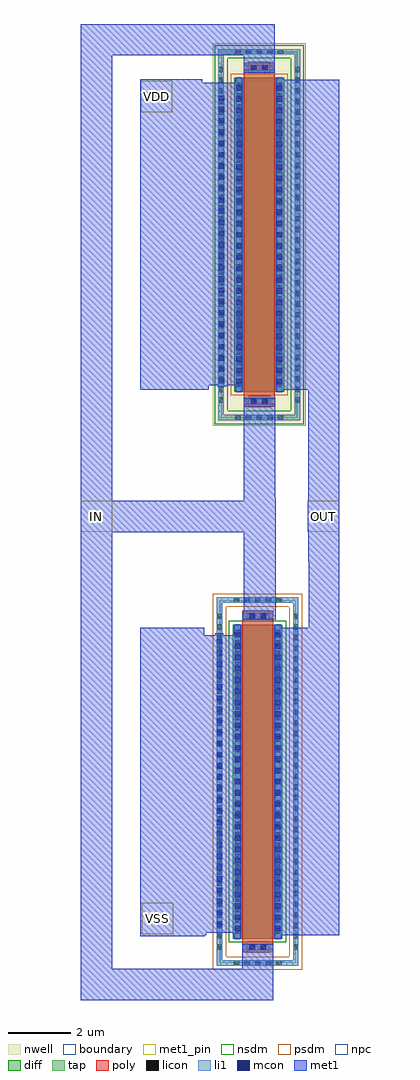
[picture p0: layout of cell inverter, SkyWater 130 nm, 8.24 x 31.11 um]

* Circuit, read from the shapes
.subckt inverter IN OUT VDD VSS
XM1 OUT IN VSS VSS sky130_fd_pr__nfet_01v8 w=10 l=1
XM2 OUT IN VDD VDD sky130_fd_pr__pfet_01v8 w=10 l=1
.ends

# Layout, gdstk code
from math import pi, radians
import gdstk
lib = gdstk.Library(unit=1e-6, precision=1e-09)
def R(c, l, rs):  # rectangles x0, y0, x1, y1
    for r in rs: c.add(gdstk.rectangle(r[:2], r[2:], *l))
def A(c, l, x, y, w, h, nx, ny, dx, dy):  # array of equal rectangles
    R(c, l, [(x+i*dx, y+j*dy, x+i*dx+w, y+j*dy+h) for i in range(nx) for j in range(ny)])
nwell = (64, 20)
diff = (65, 20)
tap = (65, 44)
poly = (66, 20)
licon = (66, 44)
li1 = (67, 20)
mcon = (67, 44)
met1_pin = (68, 16)
met1 = (68, 20)
nsdm = (93, 44)
psdm = (94, 20)
npc = (95, 20)
boundary = (235, 4)

sky130_fd_pr__nfet_01v8_ = lib.new_cell('sky130_fd_pr__nfet_01v8_6WXQK8')
R(sky130_fd_pr__nfet_01v8_, diff, [(-0.79,-5,0.79,5)])
R(sky130_fd_pr__nfet_01v8_, tap, [(-1.3,-5.87,1.3,-5.7), (-1.3,-5.7,-1.13,5.7), (1.13,-5.7,1.3,5.7), (-1.3,5.7,1.3,5.87)])
R(sky130_fd_pr__nfet_01v8_, poly, [(-0.5,-5.44,0.5,5.44)])
A(sky130_fd_pr__nfet_01v8_, licon, -0.765, -5.87, 0.17, 0.17, 5, 2, 0.34, 11.57)
A(sky130_fd_pr__nfet_01v8_, licon, -1.3, -5.355, 0.17, 0.17, 1, 32, 0, 0.34)
A(sky130_fd_pr__nfet_01v8_, licon, 1.13, -5.355, 0.17, 0.17, 1, 32, 0, 0.34)
A(sky130_fd_pr__nfet_01v8_, licon, -0.73, -4.845, 0.17, 0.17, 1, 29, 0, 0.34)
A(sky130_fd_pr__nfet_01v8_, licon, 0.56, -4.845, 0.17, 0.17, 1, 29, 0, 0.34)
R(sky130_fd_pr__nfet_01v8_, licon, [(-0.255,-5.36,-0.085,-5.19), (0.085,-5.36,0.255,-5.19), (-0.255,5.19,-0.085,5.36), (0.085,5.19,0.255,5.36)])
R(sky130_fd_pr__nfet_01v8_, li1, [(-1.3,-5.87,1.3,-5.7), (-1.3,-5.7,-1.13,5.7), (1.13,-5.7,1.3,5.7), (-0.5,-5.36,0.5,-5.19), (-0.73,-5.02,-0.56,5.02), (0.56,-5.02,0.73,5.02), (-0.5,5.19,0.5,5.36), (-1.3,5.7,1.3,5.87)])
A(sky130_fd_pr__nfet_01v8_, mcon, -0.73, -4.765, 0.17, 0.17, 1, 27, 0, 0.36)
A(sky130_fd_pr__nfet_01v8_, mcon, 0.56, -4.765, 0.17, 0.17, 1, 27, 0, 0.36)
R(sky130_fd_pr__nfet_01v8_, mcon, [(-0.265,-5.36,-0.095,-5.19), (0.095,-5.36,0.265,-5.19), (-0.265,5.19,-0.095,5.36), (0.095,5.19,0.265,5.36)])
R(sky130_fd_pr__nfet_01v8_, met1, [(-0.48,-5.39,0.48,-5.16), (-0.76,-5,-0.53,5), (0.53,-5,0.76,5), (-0.48,5.16,0.48,5.39)])
R(sky130_fd_pr__nfet_01v8_, nsdm, [(-0.915,-5.125,0.915,5.125)])
R(sky130_fd_pr__nfet_01v8_, psdm, [(-1.425,-5.995,1.425,-5.575), (-1.425,-5.575,-1.005,5.575), (1.005,-5.575,1.425,5.575), (-1.425,5.575,1.425,5.995)])
R(sky130_fd_pr__nfet_01v8_, npc, [(-0.355,-5.46,0.355,-5.09), (-0.355,5.09,0.355,5.46)])
R(sky130_fd_pr__nfet_01v8_, boundary, [(-1.21,-5.78,1.21,5.78)])

sky130_fd_pr__pfet_01v8_ = lib.new_cell('sky130_fd_pr__pfet_01v8_GGAEPD')
R(sky130_fd_pr__pfet_01v8_, nwell, [(-1.48,-6.095,1.48,6.095)])
R(sky130_fd_pr__pfet_01v8_, diff, [(-0.79,-5,0.79,5)])
R(sky130_fd_pr__pfet_01v8_, tap, [(-1.3,-5.915,1.3,-5.745), (-1.3,-5.745,-1.13,5.745), (1.13,-5.745,1.3,5.745), (-1.3,5.745,1.3,5.915)])
R(sky130_fd_pr__pfet_01v8_, poly, [(-0.5,-5.485,0.5,5.485)])
A(sky130_fd_pr__pfet_01v8_, licon, -0.765, -5.915, 0.17, 0.17, 5, 2, 0.34, 11.66)
A(sky130_fd_pr__pfet_01v8_, licon, -1.3, -5.355, 0.17, 0.17, 1, 32, 0, 0.34)
A(sky130_fd_pr__pfet_01v8_, licon, 1.13, -5.355, 0.17, 0.17, 1, 32, 0, 0.34)
A(sky130_fd_pr__pfet_01v8_, licon, -0.73, -4.845, 0.17, 0.17, 1, 29, 0, 0.34)
A(sky130_fd_pr__pfet_01v8_, licon, 0.56, -4.845, 0.17, 0.17, 1, 29, 0, 0.34)
R(sky130_fd_pr__pfet_01v8_, licon, [(-0.255,-5.405,-0.085,-5.235), (0.085,-5.405,0.255,-5.235), (-0.255,5.235,-0.085,5.405), (0.085,5.235,0.255,5.405)])
R(sky130_fd_pr__pfet_01v8_, li1, [(-1.3,-5.915,1.3,-5.745), (-1.3,-5.745,-1.13,5.745), (1.13,-5.745,1.3,5.745), (-0.5,-5.405,0.5,-5.235), (-0.73,-5.02,-0.56,5.02), (0.56,-5.02,0.73,5.02), (-0.5,5.235,0.5,5.405), (-1.3,5.745,1.3,5.915)])
A(sky130_fd_pr__pfet_01v8_, mcon, -0.73, -4.765, 0.17, 0.17, 1, 27, 0, 0.36)
A(sky130_fd_pr__pfet_01v8_, mcon, 0.56, -4.765, 0.17, 0.17, 1, 27, 0, 0.36)
R(sky130_fd_pr__pfet_01v8_, mcon, [(-0.265,-5.405,-0.095,-5.235), (0.095,-5.405,0.265,-5.235), (-0.265,5.235,-0.095,5.405), (0.095,5.235,0.265,5.405)])
R(sky130_fd_pr__pfet_01v8_, met1, [(-0.48,-5.435,0.48,-5.205), (-0.76,-5,-0.53,5), (0.53,-5,0.76,5), (-0.48,5.205,0.48,5.435)])
R(sky130_fd_pr__pfet_01v8_, nsdm, [(-1.425,-6.04,1.425,-5.62), (-1.425,-5.62,-1.005,5.62), (1.005,-5.62,1.425,5.62), (-1.425,5.62,1.425,6.04)])
R(sky130_fd_pr__pfet_01v8_, psdm, [(-0.915,-5.125,0.915,5.125)])
R(sky130_fd_pr__pfet_01v8_, npc, [(-0.355,-5.505,0.355,-5.135), (-0.355,5.135,0.355,5.505)])
R(sky130_fd_pr__pfet_01v8_, boundary, [(-1.215,-5.83,1.215,5.83)])

inverter = lib.new_cell('inverter')
R(inverter, li1, [(1.54,2.31,1.71,11.73), (1.6,19.7,1.77,28.99)])
A(inverter, mcon, 1.54, 2.435, 0.17, 0.17, 1, 26, 0, 0.36)
A(inverter, mcon, 1.6, 19.76, 0.17, 0.17, 1, 26, 0, 0.36)
R(inverter, met1_pin, [(-0.85,2.2,0.15,3.2), (-2.8,15.02,-1.8,16.02), (4.44,15.02,5.44,16.02), (-0.88,28.4,0.12,29.4)])
R(inverter, met1, [(-2.795,0.1,3.34,1.1), (-2.795,1.1,-1.795,15.01), (2.34,1.1,3.34,1.9), (-0.91,2.14,1.16,2.16), (-0.91,2.16,1.2,2.24), (3.4,2.16,5.435,11.96), (-0.91,2.24,2.28,11.73), (-0.91,11.73,1.14,11.96), (1.48,11.73,1.74,11.79), (4.47,11.96,5.435,14.075), (2.39,12.22,3.41,15.01), (4.45,14.075,5.44,15.02), (-2.795,15.01,3.41,15.02), (-2.8,15.02,3.41,16.01), (4.44,15.02,5.44,16.02), (-2.8,16.01,-1.795,16.02), (2.39,16.01,3.41,16.09), (-2.795,16.02,-1.795,19.09), (4.45,16.02,5.44,19.55), (2.4,16.09,3.4,19.29), (-2.795,19.09,-1.79,19.26), (-2.795,19.26,-1.795,29.73), (-0.91,19.55,1.28,19.7), (3.45,19.55,5.44,29.44), (1.57,19.65,1.79,19.66), (1.57,19.66,1.83,19.7), (-0.91,19.7,2.33,28.99), (-0.91,28.99,2.24,29.34), (-0.91,29.34,1.07,29.45), (2.39,29.66,3.39,30.21), (-2.795,29.73,-1.79,29.9), (-2.795,29.9,-1.795,30.21), (-2.795,30.21,3.39,31.21)])
inverter.add(gdstk.Reference(sky130_fd_pr__nfet_01v8_, (2.84,7.06), rotation=pi, x_reflection=True))
inverter.add(gdstk.Reference(sky130_fd_pr__pfet_01v8_, (2.89,24.495)))
inverter.add(gdstk.Label('VDD', (-0.38,28.9), layer=68, texttype=5))
inverter.add(gdstk.Label('VSS', (-0.35,2.7), layer=68, texttype=5))
inverter.add(gdstk.Label('OUT', (4.94,15.52), layer=68, texttype=5))
inverter.add(gdstk.Label('IN', (-2.3,15.52), layer=68, texttype=5))

lib.write_gds('inverter.gds')
